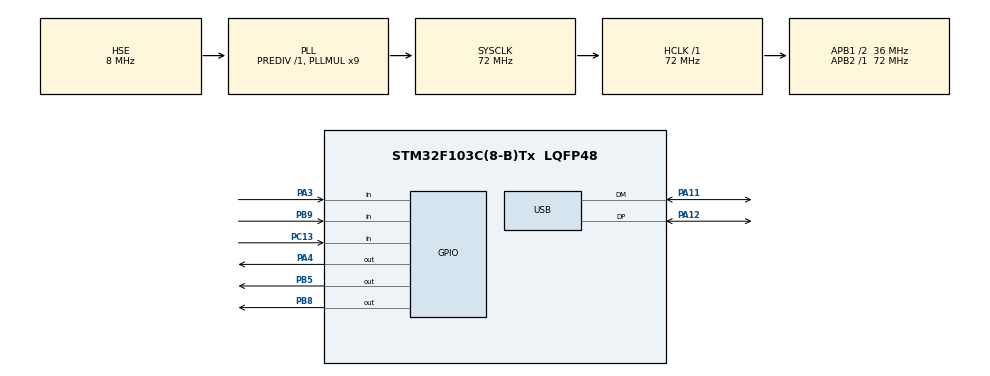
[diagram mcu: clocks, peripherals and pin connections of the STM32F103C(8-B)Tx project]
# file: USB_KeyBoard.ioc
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Mcu.Family=STM32F1
Mcu.Name=STM32F103C(8-B)Tx
Mcu.Package=LQFP48
NVIC.PriorityGroup=NVIC_PRIORITYGROUP_4
NVIC.TIM2_IRQn=true\:0\:0\:false\:false\:true\:true\:true
NVIC.USB_LP_CAN1_RX0_IRQn=true\:0\:0\:false\:false\:true\:false\:true
PA11.Mode=Device
PA11.Signal=USB_DM
PA12.Mode=Device
PA12.Signal=USB_DP
PA13.Mode=Serial_Wire
PA13.Signal=SYS_JTMS-SWDIO
PA14.Mode=Serial_Wire
PA14.Signal=SYS_JTCK-SWCLK
PA3.Signal=GPIO_Input
PA4.GPIO_Speed=GPIO_SPEED_FREQ_HIGH
PA4.Signal=GPIO_Output
PB5.GPIO_Speed=GPIO_SPEED_FREQ_HIGH
PB5.Signal=GPIO_Output
PB8.GPIO_Speed=GPIO_SPEED_FREQ_HIGH
PB8.Signal=GPIO_Output
PB9.Signal=GPIO_Input
PC13-TAMPER-RTC.Signal=GPIO_Input
PD0-OSC_IN.Mode=HSE-External-Oscillator
PD0-OSC_IN.Signal=RCC_OSC_IN
PD1-OSC_OUT.Mode=HSE-External-Oscillator
PD1-OSC_OUT.Signal=RCC_OSC_OUT
ProjectManager.HeapSize=0x200
ProjectManager.StackSize=0x400
ProjectManager.TargetToolchain=MDK-ARM V5.32
RCC.AHBFreq_Value=72000000
RCC.APB1CLKDivider=RCC_HCLK_DIV2
RCC.APB1Freq_Value=36000000
RCC.APB1TimFreq_Value=72000000
RCC.APB2Freq_Value=72000000
RCC.APB2TimFreq_Value=72000000
RCC.HCLKFreq_Value=72000000
RCC.PLLMUL=RCC_PLL_MUL9
RCC.PLLSourceVirtual=RCC_PLLSOURCE_HSE
RCC.SYSCLKFreq_VALUE=72000000
RCC.SYSCLKSource=RCC_SYSCLKSOURCE_PLLCLK
RCC.USBFreq_Value=48000000
RCC.USBPrescaler=RCC_USBCLKSOURCE_PLL_DIV1_5
TIM2.Period=999
TIM2.Prescaler=720-1
USB_DEVICE.CLASS_NAME_FS=HID
USB_DEVICE.PRODUCT_STRING_HID_FS=USB KeyBoard
USB_DEVICE.VirtualMode=Hid
USB_DEVICE.VirtualModeFS=Hid_FS
VP_TIM2_VS_ClockSourceINT.Mode=Internal
VP_USB_DEVICE_VS_USB_DEVICE_HID_FS.Mode=HID_FS
board=custom

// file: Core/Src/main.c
/* USER CODE BEGIN Header */
/**
  ******************************************************************************
  * @file           : main.c
  * @brief          : Main program body
  ******************************************************************************
  * @attention
  *
  * Copyright (c) 2023 STMicroelectronics.
  * All rights reserved.
  *
  * This software is licensed under terms that can be found in the LICENSE file
  * in the root directory of this software component.
  * If no LICENSE file comes with this software, it is provided AS-IS.
  *
  ******************************************************************************
  */
/* USER CODE END Header */
#include "main.h"
#include "tim.h"
#include "usb_device.h"
#include "gpio.h"

/* USER CODE BEGIN Includes */
#include "usbd_hid.h"
/* USER CODE END Includes */

/* USER CODE BEGIN PTD */
#define KEY1_GPIO_Port GPIOA
#define KEY1_Pin GPIO_PIN_3
#define KEY2_GPIO_Port GPIOC
#define KEY2_Pin GPIO_PIN_13
#define KEY3_GPIO_Port GPIOB
#define KEY3_Pin GPIO_PIN_9

#define LED1_GPIO_Port GPIOA
#define LED1_Pin GPIO_PIN_4
#define LED1_ON                    HAL_GPIO_WritePin(LED1_GPIO_Port ,LED1_Pin ,GPIO_PIN_RESET);
#define LED1_OFF                   HAL_GPIO_WritePin(LED1_GPIO_Port ,LED1_Pin ,GPIO_PIN_SET);
#define LED2_GPIO_Port GPIOB
#define LED2_Pin GPIO_PIN_8
#define LED2_ON                    HAL_GPIO_WritePin(LED2_GPIO_Port ,LED2_Pin ,GPIO_PIN_RESET);
#define LED2_OFF                   HAL_GPIO_WritePin(LED2_GPIO_Port ,LED2_Pin ,GPIO_PIN_SET);
#define LED3_GPIO_Port GPIOB
#define LED3_Pin GPIO_PIN_5
#define LED3_ON                    HAL_GPIO_WritePin(LED3_GPIO_Port ,LED3_Pin ,GPIO_PIN_RESET);
#define LED3_OFF                   HAL_GPIO_WritePin(LED3_GPIO_Port ,LED3_Pin ,GPIO_PIN_SET);

int KEY1_FLAG=0;
int KEY2_FLAG=0;
int KEY3_FLAG=0;
int KEY1_OLD_FLAG=0;
int KEY2_OLD_FLAG=0;
int KEY3_OLD_FLAG=0;

/* USER CODE END PTD */

/* USER CODE BEGIN PV */
extern USBD_HandleTypeDef hUsbDeviceFS;

/*
 * buffer[0] - bit0: Left CTRL
 *           -bit1: Left SHIFT
 *           -bit2: Left ALT
 *           -bit3: Left GUI
 *           -bit4: Right CTRL
 *           -bit5: Right SHIFT
 *           -bit6: Right ALT
 *           -bit7: Right GUI
 * buffer[1] - Padding = Always 0x00
 * buffer[2] - Key 1
 * buffer[3] - Key 2
 * buffer[4] - Key 3
 * buffer[5] - Key 4
 * buffer[6] - Key 5
 * buffer[7] - Key 6
 */
uint8_t buffer[8] = {0x00, 0x00, 0x00, 0x00, 0x00, 0x00, 0x00, 0x00};
/* USER CODE END PV */

void SystemClock_Config(void);

int main(void)
{

  /* MCU Configuration--------------------------------------------------------*/

  /* Reset of all peripherals, Initializes the Flash interface and the Systick. */
  HAL_Init();

  /* Configure the system clock */
  SystemClock_Config();

  /* Initialize all configured peripherals */
  MX_GPIO_Init();
  MX_USB_DEVICE_Init();
  MX_TIM2_Init();
  /* USER CODE BEGIN 2 */
HAL_TIM_Base_Start_IT(&htim2);
  /* USER CODE END 2 */

  /* Infinite loop */
  /* USER CODE BEGIN WHILE */
  while (1)
  {

	   if(KEY1_FLAG == 1&&KEY1_OLD_FLAG==0)//ctrl + C
    {
      buffer[0] = 0x01; //L CTRL
      buffer[2] = 0x06; //C
      USBD_HID_SendReport(&hUsbDeviceFS, buffer, 8); //send
	HAL_GPIO_WritePin(LED1_GPIO_Port ,LED1_Pin ,GPIO_PIN_RESET);
//      HAL_Delay(15); //delay
	}
      if(KEY1_FLAG == 0&&KEY1_OLD_FLAG==1)//ctrl + C
	{
      buffer[0] = 0x00;
      buffer[2] = 0x00;
      USBD_HID_SendReport(&hUsbDeviceFS, buffer, 8);
 //     HAL_Delay(15);
    HAL_GPIO_WritePin(LED1_GPIO_Port ,LED1_Pin ,GPIO_PIN_SET);
 //     while(HAL_GPIO_ReadPin(KEY1_GPIO_Port, KEY1_Pin) == 0)
  //    HAL_Delay(15);
    }

	 if(KEY2_FLAG == 1&&KEY2_OLD_FLAG==0)//escape
    {
      buffer[0] = 0x00; //
      buffer[2] = 0x29; //escape
      USBD_HID_SendReport(&hUsbDeviceFS, buffer, 8); //send
	HAL_GPIO_WritePin(LED2_GPIO_Port ,LED2_Pin ,GPIO_PIN_RESET);
//     HAL_Delay(15); //delay
	}
	if(KEY2_FLAG == 0&&KEY2_OLD_FLAG==1)//CTRL + V
	{
      buffer[0] = 0x00;
      buffer[2] = 0x00;
      USBD_HID_SendReport(&hUsbDeviceFS, buffer, 8);
 //     HAL_Delay(15);
    HAL_GPIO_WritePin(LED2_GPIO_Port ,LED2_Pin ,GPIO_PIN_SET);
 //     while(HAL_GPIO_ReadPin(KEY2_GPIO_Port, KEY2_Pin) == 0)
  //    HAL_Delay(15);
    }

	if(KEY3_FLAG == 1 && KEY3_OLD_FLAG==0)//delete
    {
      buffer[0] = 0x00; //
      buffer[2] = 0x4C; //Delete
      USBD_HID_SendReport(&hUsbDeviceFS, buffer, 8); //send
	HAL_GPIO_WritePin(LED3_GPIO_Port ,LED3_Pin ,GPIO_PIN_RESET);
//      HAL_Delay(15); //delay
	}
     if(KEY3_FLAG == 0&&KEY3_OLD_FLAG==1)//backspace
	 {
      buffer[0] = 0x00;
      buffer[2] = 0x00;
      USBD_HID_SendReport(&hUsbDeviceFS, buffer, 8);
//      HAL_Delay(15);
     HAL_GPIO_WritePin(LED3_GPIO_Port ,LED3_Pin ,GPIO_PIN_SET);
//      while(HAL_GPIO_ReadPin(KEY3_GPIO_Port, KEY3_Pin) == 0)
//      HAL_Delay(15);
    }
    /* USER CODE END WHILE */

	}
}

void SystemClock_Config(void)
{
  RCC_OscInitTypeDef RCC_OscInitStruct = {0};
  RCC_ClkInitTypeDef RCC_ClkInitStruct = {0};
  RCC_PeriphCLKInitTypeDef PeriphClkInit = {0};

  /** Initializes the RCC Oscillators according to the specified parameters
  * in the RCC_OscInitTypeDef structure.
  */
  RCC_OscInitStruct.OscillatorType = RCC_OSCILLATORTYPE_HSE;
  RCC_OscInitStruct.HSEState = RCC_HSE_ON;
  RCC_OscInitStruct.HSEPredivValue = RCC_HSE_PREDIV_DIV1;
  RCC_OscInitStruct.HSIState = RCC_HSI_ON;
  RCC_OscInitStruct.PLL.PLLState = RCC_PLL_ON;
  RCC_OscInitStruct.PLL.PLLSource = RCC_PLLSOURCE_HSE;
  RCC_OscInitStruct.PLL.PLLMUL = RCC_PLL_MUL9;
  if (HAL_RCC_OscConfig(&RCC_OscInitStruct) != HAL_OK)
  {
    Error_Handler();
  }
  /** Initializes the CPU, AHB and APB buses clocks
  */
  RCC_ClkInitStruct.ClockType = RCC_CLOCKTYPE_HCLK|RCC_CLOCKTYPE_SYSCLK
                              |RCC_CLOCKTYPE_PCLK1|RCC_CLOCKTYPE_PCLK2;
  RCC_ClkInitStruct.SYSCLKSource = RCC_SYSCLKSOURCE_PLLCLK;
  RCC_ClkInitStruct.AHBCLKDivider = RCC_SYSCLK_DIV1;
  RCC_ClkInitStruct.APB1CLKDivider = RCC_HCLK_DIV2;
  RCC_ClkInitStruct.APB2CLKDivider = RCC_HCLK_DIV1;

  if (HAL_RCC_ClockConfig(&RCC_ClkInitStruct, FLASH_LATENCY_2) != HAL_OK)
  {
    Error_Handler();
  }
  PeriphClkInit.PeriphClockSelection = RCC_PERIPHCLK_USB;
  PeriphClkInit.UsbClockSelection = RCC_USBCLKSOURCE_PLL_DIV1_5;
  if (HAL_RCCEx_PeriphCLKConfig(&PeriphClkInit) != HAL_OK)
  {
    Error_Handler();
  }
}

void Error_Handler(void)
{
  __disable_irq();
  while (1)
  {
  }
}
